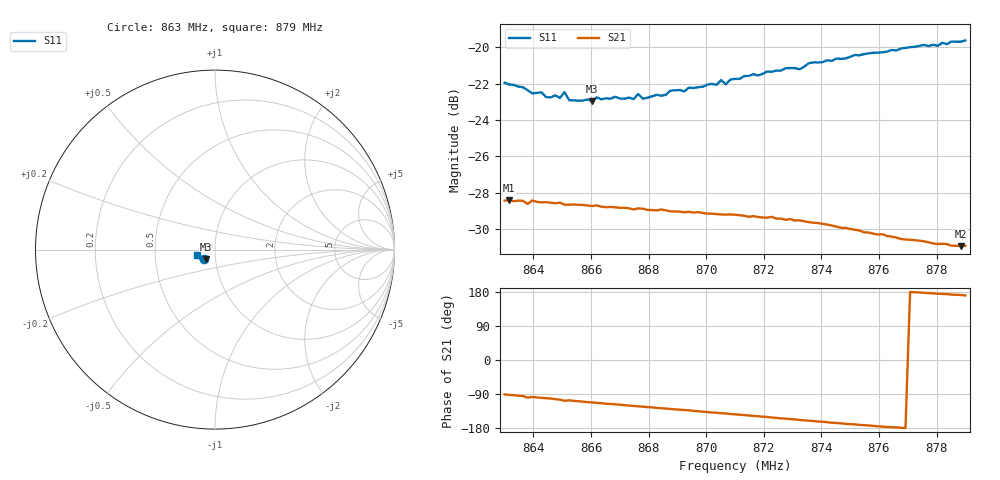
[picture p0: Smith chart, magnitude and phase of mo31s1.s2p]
# HZ S RI R 50
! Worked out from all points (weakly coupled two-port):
!   101 points, 863 MHz to 879 MHz, reference 50 ohm
!   highest |S21| = -28.42 dB at 863.16 MHz (marker M1); lowest = -31.0 dB at 878.84 MHz (marker M2)
!   lowest |S11| = -23.0 dB at 866.04 MHz (marker M3), VSWR 1.15, Z = 45.2 - j4.75 ohm
!   |S11| at or under -10 dB: start of sweep to end of sweep
!   S12 and S22 are empty: the file has one direction only
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8.63e8  -0.0585 -0.0545  -0.00047 -0.0378  0 0  0 0
8.6316e8  -0.0568 -0.055  -0.00136 -0.0379  0 0  0 0
8.6444e8  -0.0516 -0.0516  -0.00701 -0.0368  0 0  0 0
8.6492e8  -0.0507 -0.052  -0.00939 -0.0361  0 0  0 0
8.6508e8  -0.0538 -0.0526  -0.0112 -0.0351  0 0  0 0
8.6524e8  -0.0505 -0.0507  -0.0104 -0.0353  0 0  0 0
8.6572e8  -0.0481 -0.0528  -0.0125 -0.0346  0 0  0 0
8.6604e8  -0.0482 -0.0523  -0.0136 -0.0339  0 0  0 0
8.662e8  -0.0492 -0.0537  -0.0145 -0.0337  0 0  0 0
8.6748e8  -0.0468 -0.0548  -0.0186 -0.0306  0 0  0 0
8.6764e8  -0.0491 -0.0559  -0.0192 -0.0304  0 0  0 0
8.678e8  -0.0477 -0.0543  -0.0196 -0.0301  0 0  0 0
8.6844e8  -0.0483 -0.0555  -0.0217 -0.0285  0 0  0 0
8.7036e8  -0.0534 -0.0581  -0.0262 -0.0228  0 0  0 0
8.7052e8  -0.0547 -0.0601  -0.0267 -0.022  0 0  0 0
8.7068e8  -0.0533 -0.0585  -0.0269 -0.0218  0 0  0 0
8.71e8  -0.0562 -0.0596  -0.0278 -0.0207  0 0  0 0
8.7324e8  -0.0657 -0.0572  -0.031 -0.0124  0 0  0 0
8.7372e8  -0.0701 -0.058  -0.0311 -0.0107  0 0  0 0
8.7644e8  -0.0867 -0.0466  -0.0301 -0.00133  0 0  0 0
8.7884e8  -0.0994 -0.0294  -0.028 0.00414  0 0  0 0
8.79e8  -0.1009 -0.0275  -0.028 0.00474  0 0  0 0
